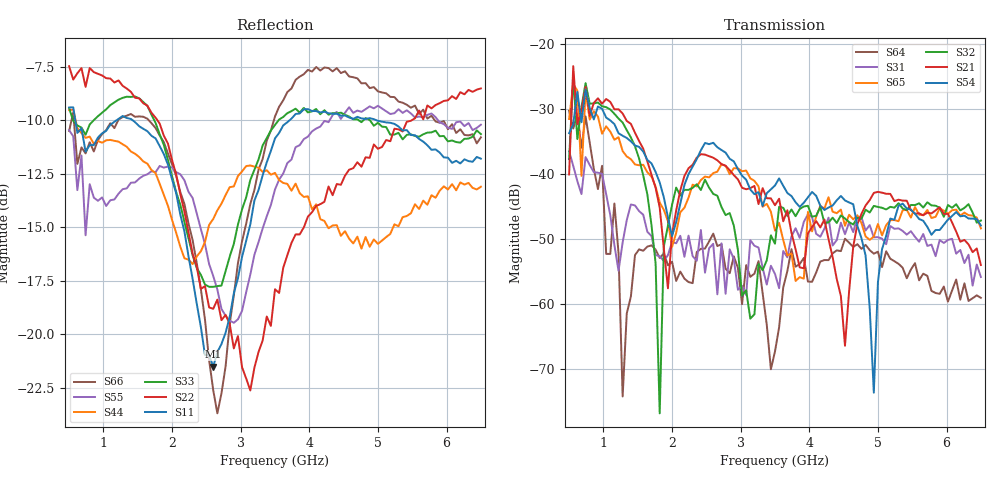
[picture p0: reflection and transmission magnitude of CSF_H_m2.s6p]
!Keysight Technologies,M9804A,MY58100912,A.14.10.03
!Date: Thursday, April 27, 2023 10:28:33
!Correction: S11(C  6-Port  )
!S12(C  6-Port  )
!S13(C  6-Port  )
!S14(C  6-Port  )
!S15(C  6-Port  )
!S16(C  6-Port  )
!S21(C  6-Port  )
!S22(C  6-Port  )
!S23(C  6-Port  )
!S24(C  6-Port  )
!S25(C  6-Port  )
!S26(C  6-Port  )
!S31(C  6-Port  )
!S32(C  6-Port  )
!S33(C  6-Port  )
!S34(C  6-Port  )
!S35(C  6-Port  )
!S36(C  6-Port  )
!S41(C  6-Port  )
!S42(C  6-Port  )
!S43(C  6-Port  )
!S44(C  6-Port  )
!S45(C  6-Port  )
!S46(C  6-Port  )
!S51(C  6-Port  )
!S52(C  6-Port  )
!S53(C  6-Port  )
!S54(C  6-Port  )
!S55(C  6-Port  )
!S56(C  6-Port  )
!S61(C  6-Port  )
!S62(C  6-Port  )
!S63(C  6-Port  )
!S64(C  6-Port  )
!S65(C  6-Port  )
!S66(C  6-Port  )
!S6P File: Measurement: :
# Hz S  RI  R 50
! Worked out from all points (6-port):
!   101 points, 500 MHz to 6.5 GHz, reference 50 ohm
!   strongest paths, dB at 500 MHz, 2 GHz, 3.5 GHz, 5 GHz, 6.5 GHz:
!     S54: -33.7, -49.6, -41.7, -56.6, -47.9
!     S21: -40.0, -49.2, -44.8, -42.7, -54.0
!     S32: -37.7, -44.7, -50.7, -45.1, -47.1
!     S65: -31.5, -51.2, -48.7, -47.7, -48.4
!     S31: -36.5, -50.4, -55.4, -49.7, -55.8
!     S64: -30.3, -53.5, -67.3, -51.9, -59.0
!   lowest |S11| = -21.5 dB at 2.6 GHz (marker M1), VSWR 1.18, Z = 42.5 + j2.18 ohm
!   |S11| at or under -10 dB: 590.1 MHz to 1.194 GHz (604 MHz wide, 67.7 % of centre); 1.423 GHz to 3.715 GHz (2.292 GHz wide, 89.2 % of centre); 4.975 GHz to end of sweep
